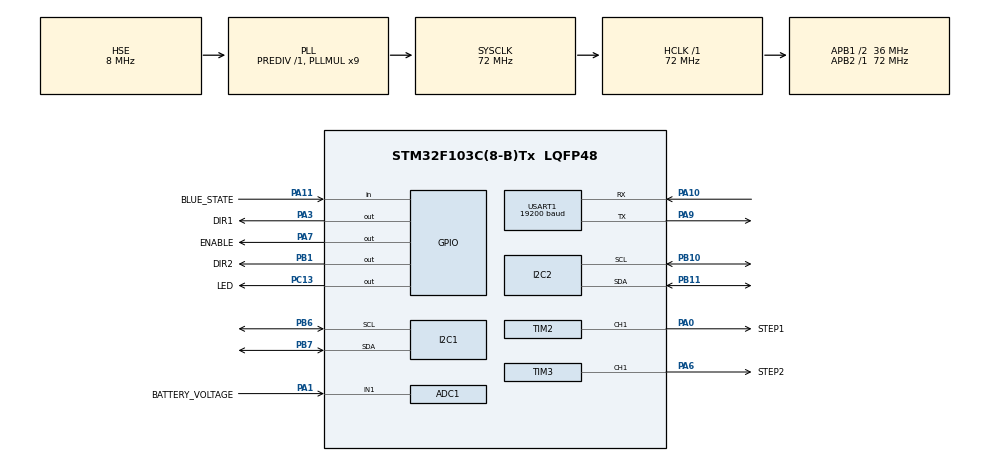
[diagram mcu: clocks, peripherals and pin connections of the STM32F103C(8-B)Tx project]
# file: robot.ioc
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ADC1.Channel-2\#ChannelRegularConversion=ADC_CHANNEL_1
ADC1.NbrOfConversionFlag=1
ADC1.Rank-2\#ChannelRegularConversion=1
ADC1.SamplingTime-2\#ChannelRegularConversion=ADC_SAMPLETIME_239CYCLES_5
ADC1.master=1
Dma.I2C1_RX.2.Direction=DMA_PERIPH_TO_MEMORY
Dma.I2C1_RX.2.Instance=DMA1_Channel7
Dma.I2C1_RX.2.MemDataAlignment=DMA_MDATAALIGN_BYTE
Dma.I2C1_RX.2.MemInc=DMA_MINC_ENABLE
Dma.I2C1_RX.2.Mode=DMA_NORMAL
Dma.I2C1_RX.2.PeriphDataAlignment=DMA_PDATAALIGN_BYTE
Dma.I2C1_RX.2.PeriphInc=DMA_PINC_DISABLE
Dma.I2C1_RX.2.Priority=DMA_PRIORITY_LOW
Dma.Request0=USART1_RX
Dma.Request1=USART1_TX
Dma.Request2=I2C1_RX
Dma.USART1_RX.0.Direction=DMA_PERIPH_TO_MEMORY
Dma.USART1_RX.0.Instance=DMA1_Channel5
Dma.USART1_RX.0.MemDataAlignment=DMA_MDATAALIGN_BYTE
Dma.USART1_RX.0.MemInc=DMA_MINC_ENABLE
Dma.USART1_RX.0.Mode=DMA_NORMAL
Dma.USART1_RX.0.PeriphDataAlignment=DMA_PDATAALIGN_BYTE
Dma.USART1_RX.0.PeriphInc=DMA_PINC_DISABLE
Dma.USART1_RX.0.Priority=DMA_PRIORITY_LOW
Dma.USART1_TX.1.Direction=DMA_MEMORY_TO_PERIPH
Dma.USART1_TX.1.Instance=DMA1_Channel4
Dma.USART1_TX.1.MemDataAlignment=DMA_MDATAALIGN_BYTE
Dma.USART1_TX.1.MemInc=DMA_MINC_ENABLE
Dma.USART1_TX.1.Mode=DMA_NORMAL
Dma.USART1_TX.1.PeriphDataAlignment=DMA_PDATAALIGN_BYTE
Dma.USART1_TX.1.PeriphInc=DMA_PINC_DISABLE
Dma.USART1_TX.1.Priority=DMA_PRIORITY_LOW
Mcu.Family=STM32F1
Mcu.Name=STM32F103C(8-B)Tx
Mcu.Package=LQFP48
NVIC.ADC1_2_IRQn=true\:5\:0\:true\:false\:true\:true\:true\:true
NVIC.DMA1_Channel4_IRQn=true\:3\:0\:true\:false\:true\:false\:true\:true
NVIC.DMA1_Channel5_IRQn=true\:3\:0\:true\:false\:true\:false\:true\:true
NVIC.DMA1_Channel7_IRQn=true\:1\:0\:true\:false\:true\:false\:true\:true
NVIC.I2C2_EV_IRQn=true\:0\:0\:false\:false\:true\:true\:true\:true
NVIC.PriorityGroup=NVIC_PRIORITYGROUP_4
NVIC.TIM1_UP_IRQn=true\:0\:0\:false\:false\:true\:true\:true\:true
NVIC.TIM2_IRQn=true\:0\:0\:false\:false\:true\:true\:true\:true
NVIC.TIM3_IRQn=true\:0\:0\:false\:false\:true\:true\:true\:true
NVIC.TIM4_IRQn=true\:0\:0\:false\:false\:true\:true\:true\:true
NVIC.USART1_IRQn=true\:3\:0\:true\:false\:true\:true\:true\:true
PA0-WKUP.GPIO_Label=STEP1
PA0-WKUP.Signal=S_TIM2_CH1_ETR
PA1.GPIO_Label=BATTERY_VOLTAGE
PA1.Signal=ADCx_IN1
PA10.Mode=Asynchronous
PA10.Signal=USART1_RX
PA11.GPIO_Label=BLUE_STATE
PA11.Signal=GPIO_Input
PA13.Mode=Serial_Wire
PA13.Signal=SYS_JTMS-SWDIO
PA14.Mode=Serial_Wire
PA14.Signal=SYS_JTCK-SWCLK
PA3.GPIO_Label=DIR1
PA3.Signal=GPIO_Output
PA6.GPIO_Label=STEP2
PA6.Signal=S_TIM3_CH1
PA7.GPIO_Label=ENABLE
PA7.PinState=GPIO_PIN_SET
PA7.Signal=GPIO_Output
PA9.Mode=Asynchronous
PA9.Signal=USART1_TX
PB1.GPIO_Label=DIR2
PB1.Signal=GPIO_Output
PB10.Mode=I2C
PB10.Signal=I2C2_SCL
PB11.Mode=I2C
PB11.Signal=I2C2_SDA
PB6.Mode=I2C
PB6.Signal=I2C1_SCL
PB7.Mode=I2C
PB7.Signal=I2C1_SDA
PC13-TAMPER-RTC.GPIO_Label=LED
PC13-TAMPER-RTC.PinState=GPIO_PIN_SET
PC13-TAMPER-RTC.Signal=GPIO_Output
PD0-OSC_IN.Mode=HSE-External-Oscillator
PD0-OSC_IN.Signal=RCC_OSC_IN
PD1-OSC_OUT.Mode=HSE-External-Oscillator
PD1-OSC_OUT.Signal=RCC_OSC_OUT
ProjectManager.HeapSize=0x200
ProjectManager.StackSize=0x400
ProjectManager.TargetToolchain=STM32CubeIDE
RCC.ADCPresc=RCC_ADCPCLK2_DIV6
RCC.AHBFreq_Value=72000000
RCC.APB1CLKDivider=RCC_HCLK_DIV2
RCC.APB1Freq_Value=36000000
RCC.APB1TimFreq_Value=72000000
RCC.APB2Freq_Value=72000000
RCC.APB2TimFreq_Value=72000000
RCC.HCLKFreq_Value=72000000
RCC.PLLMUL=RCC_PLL_MUL9
RCC.PLLSourceVirtual=RCC_PLLSOURCE_HSE
RCC.SYSCLKFreq_VALUE=72000000
RCC.SYSCLKSource=RCC_SYSCLKSOURCE_PLLCLK
RCC.USBFreq_Value=72000000
SH.ADCx_IN1.0=ADC1_IN1,IN1
SH.S_TIM2_CH1_ETR.0=TIM2_CH1,PWM Generation1 CH1
SH.S_TIM3_CH1.0=TIM3_CH1,PWM Generation1 CH1
TIM1.Period=9999
TIM1.Prescaler=7199
TIM1.TIM_MasterOutputTrigger=TIM_TRGO_RESET
TIM2.Channel-PWM\ Generation1\ CH1=TIM_CHANNEL_1
TIM2.Prescaler=71
TIM3.Channel-PWM\ Generation1\ CH1=TIM_CHANNEL_1
TIM3.Prescaler=71
TIM4.Period=39
TIM4.Prescaler=7199
USART1.BaudRate=19200
USART1.VirtualMode=VM_ASYNC
VP_TIM1_VS_ClockSourceINT.Mode=Internal
VP_TIM2_VS_ClockSourceINT.Mode=Internal
VP_TIM3_VS_ClockSourceINT.Mode=Internal
VP_TIM4_VS_ClockSourceINT.Mode=Internal
board=custom

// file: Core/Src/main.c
/* USER CODE BEGIN Header */
/**
  ******************************************************************************
  * @file           : main.c
  * @brief          : Main program body
  ******************************************************************************
  * @attention
  *
  * Copyright (c) 2024 STMicroelectronics.
  * All rights reserved.
  *
  * This software is licensed under terms that can be found in the LICENSE file
  * in the root directory of this software component.
  * If no LICENSE file comes with this software, it is provided AS-IS.
  *
  ******************************************************************************
  */
/* USER CODE END Header */
#include "main.h"
#include "adc.h"
#include "dma.h"
#include "i2c.h"
#include "tim.h"
#include "usart.h"
#include "gpio.h"

/* USER CODE BEGIN Includes */
#include <stdio.h>
#include <math.h>

#include "stepper_lib.h"
#include "mpu6050.h"
#include "low_pass_filter.h"
#include "helpers.h"
#include "pid_lib.h"
#include "uart_interface.h"
#include "user_functions.h"
#include "robot.h"

/* USER CODE END Includes */

/* USER CODE BEGIN PV */

// uart interface
extern DMA_HandleTypeDef hdma_usart1_rx;
uart_interface_typedef uart_interface;

volatile stepper_typedef stepper1;
volatile stepper_typedef stepper2;

extern robot_typedef robot;

uint8_t encoder_data_buffer[2];

/* USER CODE END PV */

void SystemClock_Config(void);
/* USER CODE BEGIN PFP */

void HAL_TIM_PeriodElapsedCallback(TIM_HandleTypeDef *htim)
{
	if(htim == stepper1.htim){
		stepper_update(&stepper1);
	}
	else if(htim == stepper2.htim){
		stepper_update(&stepper2);
	}
	else if (htim == &htim4){
		mpu_get_data_x_angle_DMA(robot.mpu);
		HAL_I2C_Mem_Read_IT(&hi2c2, 0x6C, 0x0C, 1, encoder_data_buffer, 2);
	}
	else if(htim == &htim1){
		HAL_ADC_Start_IT(&hadc1);
	}
}

void HAL_ADC_ConvCpltCallback(ADC_HandleTypeDef* hadc){
	if(hadc == &hadc1){
		robot.battery_voltage = HAL_ADC_GetValue(&hadc1) * 0.0045934;
		if(robot.battery_voltage < 10.8){
			HAL_GPIO_TogglePin(LED_GPIO_Port, LED_Pin);
			if(robot.battery_voltage < 10.5){
				robot_stop();
			}
		}
		else{
			HAL_GPIO_WritePin(LED_GPIO_Port, LED_Pin, GPIO_PIN_SET);
		}

	}
}

/* USER CODE END PFP */

int main(void)
{

  /* MCU Configuration--------------------------------------------------------*/

  /* Reset of all peripherals, Initializes the Flash interface and the Systick. */
  HAL_Init();

  /* Configure the system clock */
  SystemClock_Config();

  /* Initialize all configured peripherals */
  MX_GPIO_Init();
  MX_DMA_Init();
  MX_I2C1_Init();
  MX_TIM2_Init();
  MX_TIM3_Init();
  MX_USART1_UART_Init();
  MX_I2C2_Init();
  MX_TIM4_Init();
  MX_ADC1_Init();
  MX_TIM1_Init();
  /* USER CODE BEGIN 2 */

  // stepper motor setup
  stepper_init(&stepper1, &htim2, TIM_CHANNEL_1, ENABLE_GPIO_Port, ENABLE_Pin,
		  DIR1_GPIO_Port, DIR1_Pin, 6000, -1);
  stepper_init(&stepper2, &htim3, TIM_CHANNEL_1, ENABLE_GPIO_Port, ENABLE_Pin,
		  DIR2_GPIO_Port, DIR2_Pin, 6000, 1);

  // MPU setup
  mpu6050_typedef mpu = mpu_init(&hi2c1, 0xD0);
  if(mpu_who_am_i(&mpu) != HAL_OK){
	  while(1){
		  printf("Error while connecting to mpu 6050\n");
		  mpu = mpu_init(&hi2c1, 0xD0);
		  HAL_Delay(1000);
	  }
  }
  set_gyro_scale(&mpu, range_250);
  set_accelerometer_scale(&mpu, range_2g);
  mpu_low_pass_filter(&mpu, Acc94Hz_Gyro98Hz);
  HAL_Delay(800);

  mpu_gyro_calibration(&mpu);

  // UART interface init
  user_function_typedef user_function_array[] = {
  		{&led, "led", 1},
  		{&comunication_test, "test", 0},
		{&motor_test, "motor_test", 2},
		{&motor_enable, "motor_enable", 1},
		{&controler_start, "start", 0},
		{&controler_stop, "stop", 0},
		{&send_data, "send_data", 1},
		{&battery_voltage, "battery", 0},
  		{&set_position, "set_pos", 1},
		{&rotate_deg, "rotate", 1},
		{&get_angle, "angle", 0},
		{&move, "move", 1}
  };

  uart_interface_init(&uart_interface, &huart1, &hdma_usart1_rx, user_function_array, sizeof(user_function_array) / sizeof(user_function_typedef));

  // robot init
  robot.stepper1 = &stepper1;
  robot.stepper2 = &stepper2;
  robot.mpu = &mpu;
  robot_init();

  HAL_TIM_Base_Start_IT(&htim4);
  HAL_TIM_Base_Start_IT(&htim1);

  HAL_Delay(50);

  /* USER CODE END 2 */

  /* Infinite loop */
  /* USER CODE BEGIN WHILE */

  start_uart_interface(&uart_interface);

  while (1){
	  if(fabsf(robot.mpu->x_angle) < 0.01 && !robot.control_on){
		  robot_start();
	  }
	  else if(fabs(robot.mpu->x_angle) > 0.7 && robot.control_on){
		  robot_stop();
	  }

	  if(uart_interface.command_received_flag){
		  execute_received_command(&uart_interface);
		  start_uart_interface(&uart_interface);
	  }

    /* USER CODE END WHILE */

  }
}

void SystemClock_Config(void)
{
  RCC_OscInitTypeDef RCC_OscInitStruct = {0};
  RCC_ClkInitTypeDef RCC_ClkInitStruct = {0};
  RCC_PeriphCLKInitTypeDef PeriphClkInit = {0};

  /** Initializes the RCC Oscillators according to the specified parameters
  * in the RCC_OscInitTypeDef structure.
  */
  RCC_OscInitStruct.OscillatorType = RCC_OSCILLATORTYPE_HSE;
  RCC_OscInitStruct.HSEState = RCC_HSE_ON;
  RCC_OscInitStruct.HSEPredivValue = RCC_HSE_PREDIV_DIV1;
  RCC_OscInitStruct.HSIState = RCC_HSI_ON;
  RCC_OscInitStruct.PLL.PLLState = RCC_PLL_ON;
  RCC_OscInitStruct.PLL.PLLSource = RCC_PLLSOURCE_HSE;
  RCC_OscInitStruct.PLL.PLLMUL = RCC_PLL_MUL9;
  if (HAL_RCC_OscConfig(&RCC_OscInitStruct) != HAL_OK)
  {
    Error_Handler();
  }

  /** Initializes the CPU, AHB and APB buses clocks
  */
  RCC_ClkInitStruct.ClockType = RCC_CLOCKTYPE_HCLK|RCC_CLOCKTYPE_SYSCLK
                              |RCC_CLOCKTYPE_PCLK1|RCC_CLOCKTYPE_PCLK2;
  RCC_ClkInitStruct.SYSCLKSource = RCC_SYSCLKSOURCE_PLLCLK;
  RCC_ClkInitStruct.AHBCLKDivider = RCC_SYSCLK_DIV1;
  RCC_ClkInitStruct.APB1CLKDivider = RCC_HCLK_DIV2;
  RCC_ClkInitStruct.APB2CLKDivider = RCC_HCLK_DIV1;

  if (HAL_RCC_ClockConfig(&RCC_ClkInitStruct, FLASH_LATENCY_2) != HAL_OK)
  {
    Error_Handler();
  }
  PeriphClkInit.PeriphClockSelection = RCC_PERIPHCLK_ADC;
  PeriphClkInit.AdcClockSelection = RCC_ADCPCLK2_DIV6;
  if (HAL_RCCEx_PeriphCLKConfig(&PeriphClkInit) != HAL_OK)
  {
    Error_Handler();
  }
}

void Error_Handler(void)
{
  /* USER CODE BEGIN Error_Handler_Debug */
  /* User can add his own implementation to report the HAL error return state */

  robot_stop();

  __disable_irq();
  while (1)
  {
  }
  /* USER CODE END Error_Handler_Debug */
}
